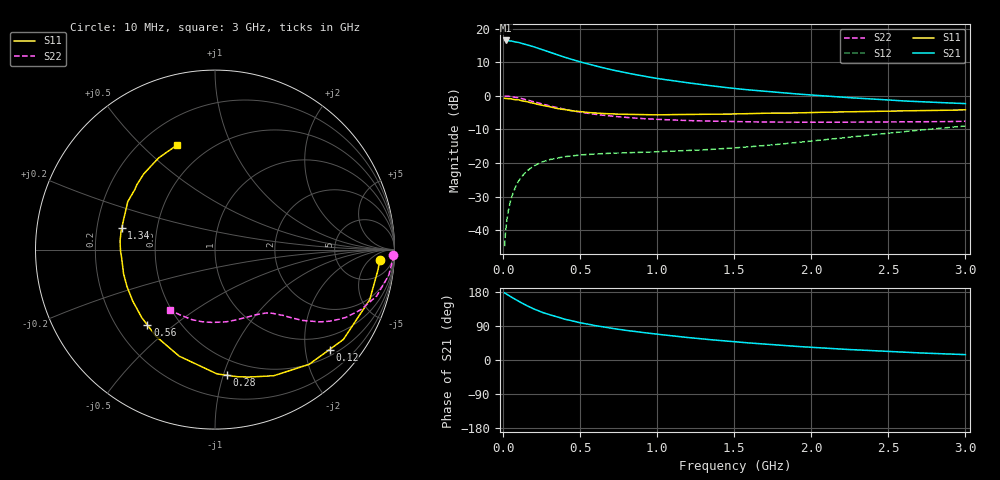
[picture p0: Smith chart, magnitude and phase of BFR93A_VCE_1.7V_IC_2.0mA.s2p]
! Infineon Technologies  Discrete & RF Semiconductors
! BFR93A
! VCE =  1.7 V,  IC =  2.0 mA
! Common Emitter S-Parameters:  Nov 2015
# GHz  S  MA  R  50
!  f  S11  S21  S12  S22
! GHz  MAG  ANG  MAG  ANG  MAG  ANG  MAG  ANG
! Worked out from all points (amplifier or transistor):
!   180 points, 10 MHz to 3 GHz, reference 50 ohm
!   highest |S21| = 16.5 dB at 20 MHz (marker M1)
!   |S21| within 3 dB of that: start of sweep to 271.4 MHz
!   unconditionally stable (mu >= 1): 966.5 MHz to end of sweep
!   at 160 MHz: K = 0.20, MSG = 18.7 dB, |S12| = -22.2 dB
!   at 1.22 GHz: K = 1.14, MAG = 7.7 dB, |S12| = -16.2 dB
!   at 3 GHz: K = 1.00, MAG = 3.0 dB, |S12| = -9.0 dB
!   S11 on the Smith chart (normalised r, x): 10 MHz: 15, -12; 120 MHz: 0.64, -2.53; 280 MHz: 0.37, -1.03; 560 MHz: 0.33, -0.41; 1.34 GHz: 0.31, +0.10; 3 GHz: 0.34, +0.64
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0.01  0.9205 -3.6  6.676 177.2  0.0058 88.2  0.9946 -1.7
0.02  0.9151 -7.1  6.677 174.6  0.0115 85.3  0.9913 -3.4
0.05  0.9061 -17.9  6.57 166.8  0.0282 79.8  0.9784 -8.4
0.1  0.8731 -35.0  6.246 155.1  0.0538 70.6  0.9373 -16.0
0.12  0.8469 -41.1  6.049 150.9  0.0619 66.4  0.9125 -18.5
0.15  0.8266 -50.7  5.819 144.1  0.0746 61.9  0.8787 -22.4
0.2  0.7753 -65.0  5.37 134.7  0.0908 55.6  0.8195 -27.5
0.24  0.7347 -75.2  4.996 128.0  0.1007 50.8  0.7723 -30.7
0.28  0.7036 -84.5  4.655 122.3  0.1086 47.3  0.7307 -33.3
0.3  0.6925 -89.1  4.495 119.4  0.1123 45.7  0.711 -34.5
0.4  0.6262 -108.6  3.758 107.6  0.1247 39.6  0.6288 -38.9
0.52  0.5766 -126.8  3.118 96.8  0.133 35.3  0.5629 -42.1
0.56  0.5644 -131.8  2.946 93.9  0.1348 34.4  0.5462 -43.0
0.6  0.5568 -137.1  2.784 90.6  0.1366 33.6  0.5296 -43.9
0.72  0.5378 -149.7  2.402 82.7  0.1407 32.7  0.4956 -46.4
0.8  0.532 -157.2  2.197 78.0  0.1425 32.6  0.4773 -48.0
1.02  0.5218 -174.2  1.788 67.2  0.1477 34.1  0.4454 -52.9
1.34  0.5331 167.1  1.423 53.8  0.1594 38.9  0.4212 -61.8
1.52  0.5388 158.9  1.274 47.4  0.1694 42.0  0.413 -67.5
2.02  0.567 139.5  1.023 32.9  0.2145 48.6  0.4054 -85.3
2.52  0.5938 123.8  0.862 22.2  0.2816 49.4  0.4087 -105.1
3  0.6194 110.1  0.767 14.2  0.3562 45.6  0.4195 -126.4
